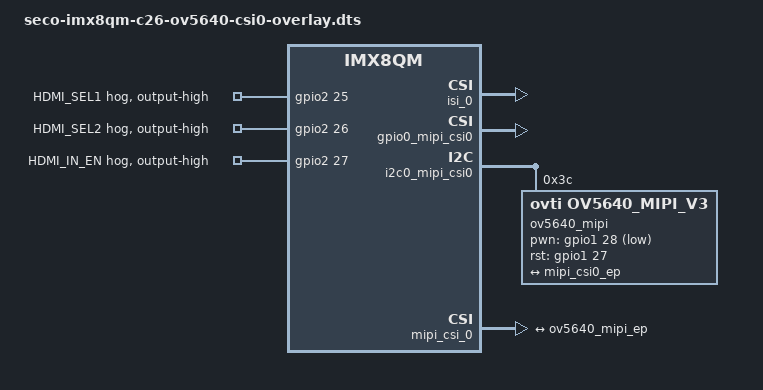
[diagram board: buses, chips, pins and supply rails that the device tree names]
/*
 * Copyright 2017-2018 NXP
 *
 * This program is free software; you can redistribute it and/or
 * modify it under the terms of the GNU General Public License
 * as published by the Free Software Foundation; either version 2
 * of the License, or (at your option) any later version.
 *
 * This program is distributed in the hope that it will be useful,
 * but WITHOUT ANY WARRANTY; without even the implied warranty of
 * MERCHANTABILITY or FITNESS FOR A PARTICULAR PURPOSE.  See the
 * GNU General Public License for more details.
 */
/*
 * OV5640 connected to csi0
 */

/dts-v1/;
/plugin/;

#include <dt-bindings/clock/imx8qm-clock.h>
#include <dt-bindings/pinctrl/pads-imx8qm.h>
#include <dt-bindings/gpio/gpio.h>

/ {
        compatible = "fsl,imx8qm-mek","fsl,seco-imx8qm-c26", "fsl,imx8qm";

/*  __________________________________________________________________________
 * |                                                                          |
 * |                               OV5640 OVERLAY                             |
 * |__________________________________________________________________________|
 */


	fragment@0 {
                target = <&isi_0>;
                __overlay__ {
			status = "okay";
		};
	};

	fragment@2 {
                target = <&gpio0_mipi_csi0>;
                __overlay__ {
			status = "okay";
		};
	};

	fragment@3 {
                target = <&i2c0_mipi_csi0>;
                __overlay__ {
			#address-cells = <1>;
			#size-cells = <0>;
			status = "okay";
			ov5640_mipi: ov5640_mipi@3c {
				compatible = "ovti,ov5640_mipi_v3";
				reg = <0x3c>;
				pinctrl-names = "default";
				pinctrl-0 = <&pinctrl_mipi_csi0_camera>;
				clocks = <&clk IMX8QM_CLK_DUMMY>;
				clock-names = "csi_mclk";
				csi_id = <0>;
				pwn-gpios = <&gpio1 28 GPIO_ACTIVE_LOW>;
				rst-gpios = <&gpio1 27 GPIO_ACTIVE_HIGH>;
				mclk = <24000000>;
				mclk_source = <0>;
				mipi_csi;
				status = "okay";
				port {
					ov5640_mipi_ep: endpoint {
						remote-endpoint = <&mipi_csi0_ep>;
						data-lanes = <1 2>;
					};
				};
			};
		};	
	};

	fragment@4 {
                target = <&mipi_csi_0>;
                __overlay__ {
		        status = "okay";
			port@0 {
				mipi_csi0_ep: endpoint {
					remote-endpoint = <&ov5640_mipi_ep>;
					data-lanes = <1 2>;
				};
			};
		};
	};

        fragment@5 {
                target = <&gpio2>;
                __overlay__ {
                        status = "okay";
                    line_b@0 {
                        gpio-hog;
                        gpios = <25 0>;
                        output-high;
                        line-name = "HDMI_SEL1";
                        };

                    line_b@1 {
                        gpio-hog;
                        gpios = <26 0>;
                        output-high;
                        line-name = "HDMI_SEL2";
                        };

                    line_b@2 {
                        gpio-hog;
                        gpios = <27 0>;
                        output-high;
                        line-name = "HDMI_IN_EN";
                        };

                };
        };

};
